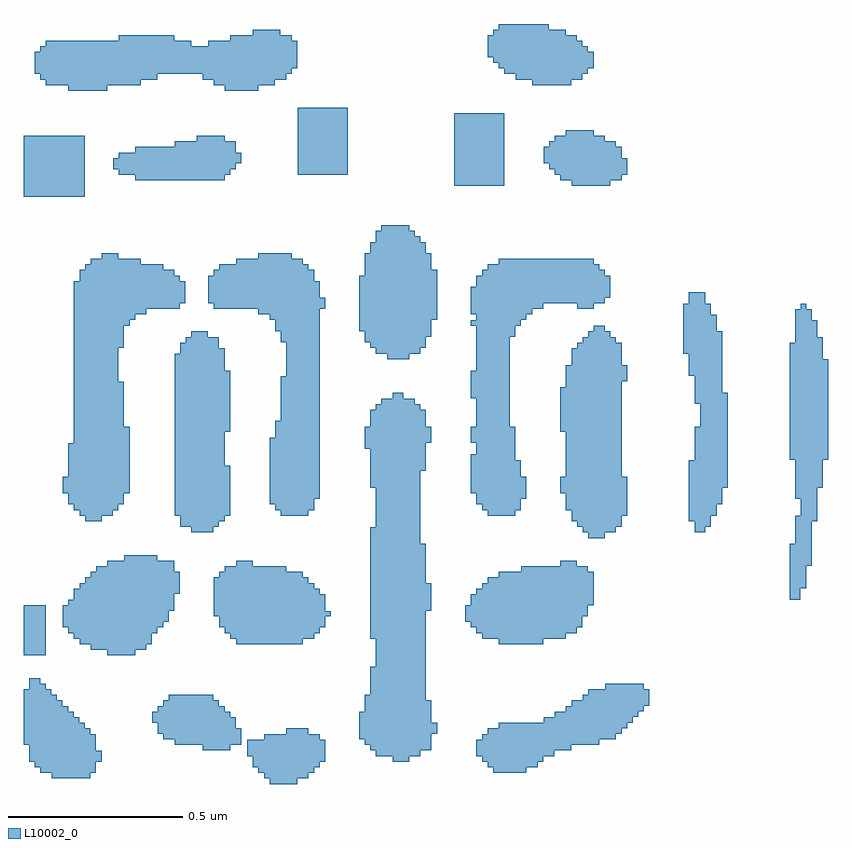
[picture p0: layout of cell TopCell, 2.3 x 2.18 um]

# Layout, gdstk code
import gdstk
lib = gdstk.Library(unit=1e-6, precision=1e-09)
def R(c, l, rs):  # rectangles x0, y0, x1, y1
    for r in rs: c.add(gdstk.rectangle(r[:2], r[2:], *l))
L10002_0 = (10002, 0)

topcell = lib.new_cell('TopCell')
R(topcell, L10002_0, [(1.728,1.04,1.807,1.183), (1.104,1.056,1.119,1.295), (1.119,1.056,1.135,1.279), (1.135,1.056,1.151,1.263), (1.151,1.056,1.167,1.247), (1.167,1.056,1.183,1.231), (1.183,1.056,1.199,1.215), (1.199,1.056,1.215,1.199), (1.712,1.056,1.728,1.183), (1.807,1.056,1.839,1.199), (1.072,1.072,1.087,1.327), (1.087,1.072,1.103,1.311), (1.103,1.072,1.104,1.295), (1.215,1.072,1.231,1.183), (1.696,1.072,1.712,1.167), (1.839,1.072,1.855,1.183), (2.368,1.072,2.463,1.199), (1.056,1.088,1.071,1.343), (1.071,1.088,1.072,1.327), (1.68,1.088,1.696,1.167), (1.855,1.088,1.871,1.183), (2.352,1.088,2.368,1.199), (2.463,1.088,2.495,1.215), (1.04,1.104,1.056,1.343), (1.231,1.104,1.247,1.135), (1.871,1.104,1.887,1.167), (2.08,1.104,2.111,2.159), (2.111,1.104,2.127,2.143), (2.336,1.104,2.352,1.183), (2.495,1.104,2.511,1.215), (1.664,1.12,1.68,1.167), (2.032,1.12,2.08,2.127), (2.127,1.12,2.143,2.143), (2.143,1.12,2.159,2.127), (2.32,1.12,2.336,1.167), (2.511,1.12,2.543,1.215), (1.536,1.136,1.567,1.295), (1.567,1.136,1.583,1.279), (1.583,1.136,1.599,1.263), (1.599,1.136,1.615,1.247), (2.016,1.136,2.032,1.375), (2.159,1.136,2.175,1.727), (2.175,1.136,2.191,1.279), (2.543,1.136,2.591,1.231), (1.024,1.152,1.04,1.311), (1.456,1.152,1.536,1.295), (1.615,1.152,1.631,1.231), (1.631,1.152,1.647,1.199), (2,1.152,2.016,1.295), (2.591,1.152,2.671,1.263), (1.424,1.168,1.456,1.279), (1.984,1.168,2,1.247), (2.671,1.168,2.719,1.311), (1.776,1.183,1.807,1.199), (1.408,1.184,1.424,1.263), (2.191,1.184,2.207,1.215), (2.719,1.184,2.735,1.327), (2.384,1.199,2.463,1.215), (2.735,1.2,2.751,1.327), (2.512,1.215,2.543,1.231), (1.392,1.216,1.408,1.247), (2.751,1.216,2.767,1.327), (2.544,1.231,2.591,1.247), (2.767,1.232,2.783,1.327), (2.576,1.247,2.591,1.263), (2.783,1.248,2.799,1.327), (2.592,1.263,2.671,1.279), (2.799,1.264,2.815,1.311), (1.44,1.279,1.456,1.295), (2.624,1.279,2.671,1.295), (2.64,1.295,2.671,1.311), (2.688,1.311,2.719,1.327), (1.024,1.408,1.087,1.551), (1.264,1.408,1.343,1.679), (1.216,1.424,1.264,1.647), (1.343,1.424,1.375,1.695), (1.184,1.44,1.216,1.615), (1.375,1.44,1.391,1.695), (1.632,1.44,1.679,1.679), (1.679,1.44,1.775,1.663), (1.775,1.44,1.823,1.647), (2.384,1.44,2.511,1.647), (1.168,1.456,1.184,1.599), (1.616,1.456,1.632,1.663), (1.823,1.456,1.839,1.631), (1.839,1.456,1.855,1.615), (2.016,1.456,2.032,1.775), (2.336,1.456,2.384,1.615), (2.511,1.456,2.575,1.663), (1.152,1.472,1.168,1.567), (1.391,1.472,1.407,1.695), (1.6,1.472,1.616,1.663), (1.855,1.472,1.871,1.599), (2.32,1.472,2.336,1.599), (2.575,1.472,2.607,1.679), (1.136,1.488,1.152,1.551), (1.407,1.488,1.423,1.679), (1.584,1.488,1.6,1.647), (1.871,1.488,1.887,1.583), (2.304,1.488,2.32,1.583), (2.607,1.488,2.623,1.663), (1.423,1.504,1.439,1.679), (2.288,1.504,2.304,1.551), (1.568,1.52,1.584,1.631), (1.887,1.52,1.903,1.535), (2.623,1.52,2.639,1.663), (1.439,1.536,1.455,1.679), (2.175,1.536,2.191,1.615), (2.639,1.552,2.655,1.647), (3.216,1.568,3.247,1.727), (1.455,1.584,1.471,1.647), (3.247,1.6,3.263,1.807), (1.2,1.615,1.216,1.631), (2.352,1.615,2.384,1.631), (1.232,1.647,1.264,1.663), (2.448,1.647,2.511,1.663), (2.56,1.663,2.575,1.679), (3.263,1.664,3.279,2.399), (1.312,1.679,1.343,1.695), (3.232,1.727,3.247,1.807), (2.64,1.744,2.687,2.335), (1.504,1.76,1.551,2.335), (1.551,1.76,1.567,2.319), (2.624,1.76,2.64,2.319), (2.687,1.76,2.703,2.335), (2.703,1.76,2.719,2.319), (2.944,1.76,2.975,2.063), (1.472,1.776,1.504,2.303), (1.567,1.776,1.583,2.319), (2.608,1.776,2.624,2.303), (2.719,1.776,2.735,2.303), (2.975,1.776,2.991,2.415), (1.2,1.792,1.247,2.527), (1.583,1.792,1.599,2.287), (2.592,1.792,2.608,2.287), (2.928,1.792,2.944,1.967), (3.279,1.792,3.295,2.367), (3.248,1.807,3.263,2.415), (1.184,1.808,1.2,2.511), (1.247,1.808,1.279,2.543), (1.456,1.808,1.472,2.271), (1.599,1.808,1.615,1.951), (1.76,1.808,1.839,2.207), (2.352,1.808,2.415,2.527), (2.415,1.808,2.431,2.063), (2.735,1.808,2.751,1.919), (2.991,1.808,3.007,2.383), (1.168,1.824,1.184,2.479), (1.279,1.824,1.295,2.559), (1.744,1.824,1.76,2.079), (1.839,1.824,1.855,2.511), (2.336,1.824,2.352,2.511), (2.431,1.824,2.447,1.967), (2.576,1.824,2.592,2.239), (1.152,1.84,1.168,2.015), (1.295,1.84,1.311,2.191), (1.728,1.84,1.744,2.031), (2.32,1.84,2.336,2.495), (3.007,1.84,3.023,2.335), (1.855,1.856,1.871,2.479), (2.447,1.856,2.463,1.919), (3.232,1.856,3.248,2.399), (1.136,1.872,1.152,1.919), (1.311,1.872,1.327,2.063), (2.304,1.872,2.32,1.983), (2.56,1.872,2.576,1.919), (2.016,1.888,2.032,2.111), (3.023,1.888,3.039,2.159), (3.295,1.888,3.311,2.319), (2.159,1.936,2.175,2.111), (3.216,1.968,3.232,2.303), (3.311,1.968,3.327,2.255), (2,2,2.016,2.063), (2.175,2.016,2.191,2.063), (2.304,2.016,2.32,2.063), (1.599,2.048,1.615,2.223), (2.56,2.048,2.576,2.175), (2.96,2.063,2.975,2.447), (2.048,2.127,2.08,2.143), (2.944,2.128,2.96,2.447), (2.304,2.144,2.32,2.223), (2.735,2.192,2.751,2.239), (1.776,2.207,1.791,2.559), (1.791,2.207,1.823,2.543), (1.823,2.207,1.839,2.527), (2.928,2.208,2.944,2.447), (2.064,2.256,2.127,2.639), (2.032,2.272,2.064,2.623), (2.127,2.272,2.143,2.623), (2.143,2.272,2.159,2.607), (2.912,2.272,2.928,2.415), (1.295,2.288,1.311,2.543), (2.016,2.288,2.032,2.591), (2.159,2.288,2.175,2.591), (1.488,2.303,1.504,2.319), (1.76,2.304,1.776,2.559), (2,2.304,2.016,2.559), (2.175,2.32,2.191,2.559), (2.415,2.32,2.431,2.543), (2.656,2.335,2.687,2.351), (1.744,2.336,1.76,2.559), (1.984,2.336,2,2.495), (1.311,2.352,1.327,2.543), (2.304,2.352,2.32,2.367), (2.431,2.352,2.447,2.543), (1.327,2.368,1.343,2.543), (1.728,2.368,1.744,2.559), (2.191,2.368,2.207,2.511), (2.447,2.368,2.463,2.543), (1.343,2.384,1.359,2.543), (1.359,2.384,1.375,2.527), (1.696,2.384,1.728,2.559), (2.304,2.384,2.32,2.463), (2.463,2.384,2.479,2.543), (1.375,2.4,1.423,2.527), (1.423,2.4,1.455,2.511), (1.455,2.4,1.471,2.495), (1.568,2.4,1.696,2.511), (1.871,2.4,1.887,2.431), (2.479,2.4,2.511,2.543), (2.608,2.4,2.655,2.543), (1.471,2.416,1.487,2.479), (1.552,2.416,1.568,2.495), (2.511,2.416,2.608,2.543), (2.655,2.416,2.671,2.527), (2.671,2.416,2.687,2.511), (2.687,2.432,2.703,2.495), (1.584,2.511,1.696,2.527), (1.216,2.527,1.247,2.543), (1.632,2.527,1.696,2.543), (2.384,2.527,2.415,2.543), (1.248,2.543,1.279,2.559), (2.048,2.623,2.064,2.639), (1.024,2.72,1.199,2.895), (2.256,2.752,2.399,2.959), (2.592,2.752,2.655,2.911), (2.655,2.752,2.687,2.895), (2.687,2.752,2.703,2.879), (1.344,2.768,1.599,2.863), (2.56,2.768,2.592,2.895), (2.703,2.768,2.719,2.879), (2.719,2.768,2.735,2.863), (1.296,2.784,1.344,2.847), (1.599,2.784,1.615,2.879), (1.808,2.784,1.951,2.975), (2.544,2.784,2.56,2.895), (2.735,2.784,2.751,2.831), (1.28,2.8,1.296,2.831), (1.615,2.8,1.631,2.879), (2.528,2.8,2.544,2.879), (1.631,2.816,1.647,2.847), (2.512,2.816,2.528,2.863), (1.456,2.863,1.599,2.879), (1.52,2.879,1.599,2.895), (2.576,2.895,2.592,2.911), (1.152,3.024,1.263,3.167), (1.6,3.024,1.695,3.167), (1.088,3.04,1.152,3.167), (1.263,3.04,1.359,3.167), (1.568,3.04,1.6,3.167), (1.695,3.04,1.743,3.199), (2.48,3.04,2.527,3.215), (2.527,3.04,2.575,3.199), (2.575,3.04,2.591,3.183), (1.072,3.056,1.088,3.151), (1.359,3.056,1.407,3.183), (1.536,3.056,1.568,3.151), (1.743,3.056,1.759,3.199), (1.759,3.056,1.775,3.183), (2.432,3.056,2.48,3.215), (2.591,3.056,2.607,3.183), (2.607,3.056,2.623,3.167), (1.056,3.072,1.072,3.135), (1.407,3.072,1.455,3.183), (1.455,3.072,1.503,3.167), (1.503,3.072,1.536,3.151), (1.775,3.072,1.791,3.183), (2.4,3.072,2.432,3.215), (2.623,3.072,2.639,3.151), (1.791,3.088,1.807,3.167), (2.384,3.088,2.4,3.215), (2.639,3.088,2.655,3.135), (2.368,3.104,2.384,3.199), (2.352,3.12,2.368,3.183), (1.552,3.151,1.568,3.167), (1.296,3.167,1.359,3.183), (1.616,3.167,1.695,3.183), (1.68,3.183,1.695,3.199)])

lib.write_gds('TopCell.gds')
